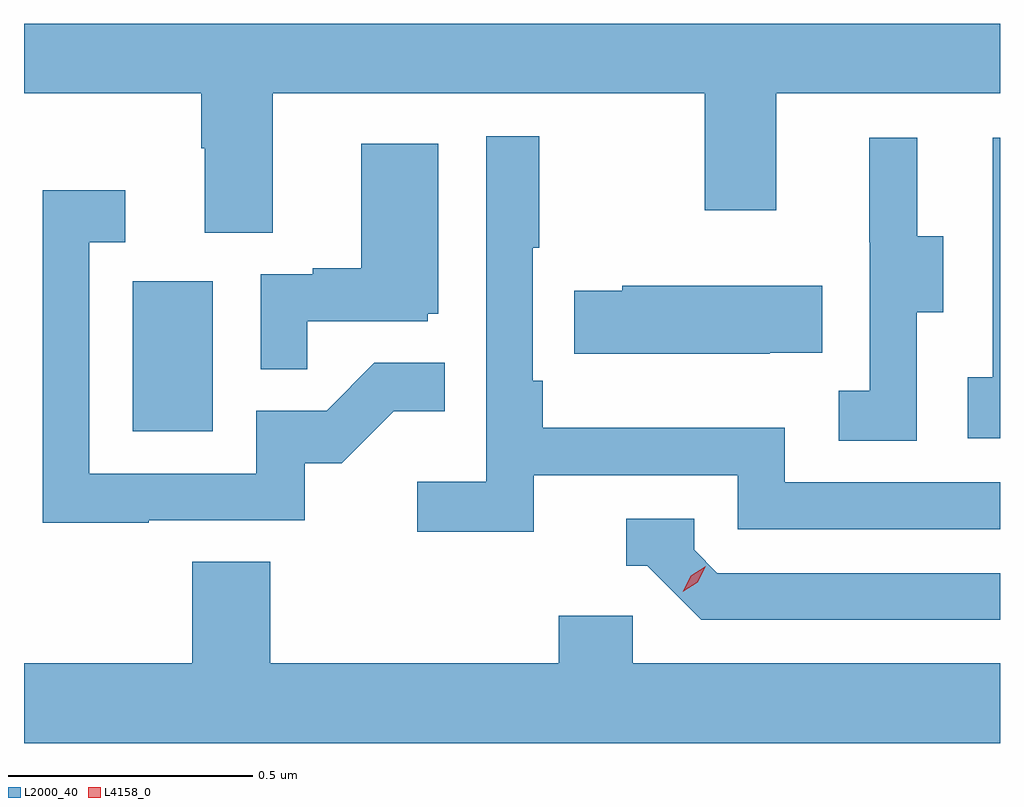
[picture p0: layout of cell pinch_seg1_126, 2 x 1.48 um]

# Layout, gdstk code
import gdstk
lib = gdstk.Library(unit=1e-6, precision=1e-09)
def R(c, l, rs):  # rectangles x0, y0, x1, y1
    for r in rs: c.add(gdstk.rectangle(r[:2], r[2:], *l))
def P(c, l, *ps):  # polygons
    for p in ps: c.add(gdstk.Polygon(p, *l))
L2000_40 = (2000, 40)
L4158_0 = (4158, 0)

pinch_seg1_126 = lib.new_cell('pinch_seg1_126')
R(pinch_seg1_126, L2000_40, [(1065.752,552.372,1065.916,552.679)])
P(pinch_seg1_126, L2000_40, [(1066.039,553.064),(1066.924,553.064),(1066.924,552.825),(1067.071,552.825),(1067.071,553.064),(1067.529,553.064),(1067.529,553.207),(1065.529,553.207),(1065.529,553.064),(1065.892,553.064),(1065.892,552.952),(1065.899,552.952),(1065.899,552.778),(1066.039,552.778)],
  [(1066.574,552.282),(1066.992,552.282),(1066.992,552.171),(1067.529,552.171),(1067.529,552.267),(1067.088,552.267),(1067.088,552.379),(1066.592,552.379),(1066.592,552.475),(1066.572,552.475),(1066.572,552.748),(1066.585,552.748),(1066.585,552.976),(1066.476,552.976),(1066.476,552.268),(1066.335,552.268),(1066.335,552.166),(1066.574,552.166)],
  [(1067.358,552.616),(1067.413,552.616),(1067.413,552.771),(1067.359,552.771),(1067.359,552.973),(1067.261,552.973),(1067.261,552.759),(1067.262,552.759),(1067.262,552.455),(1067.199,552.455),(1067.199,552.352),(1067.358,552.352)],
  [(1067.529,552.973),(1067.514,552.973),(1067.514,552.482),(1067.463,552.482),(1067.463,552.357),(1067.529,552.357)],
  [(1066.109,552.597),(1066.356,552.597),(1066.356,552.612),(1066.378,552.612),(1066.378,552.961),(1066.22,552.961),(1066.22,552.706),(1066.121,552.706),(1066.121,552.693),(1066.014,552.693),(1066.014,552.499),(1066.109,552.499)],
  [(1065.785,552.189),(1066.104,552.189),(1066.104,552.306),(1066.18,552.306),(1066.287,552.413),(1066.391,552.413),(1066.391,552.512),(1066.247,552.512),(1066.149,552.414),(1066.005,552.414),(1066.005,552.285),(1065.663,552.285),(1065.663,552.759),(1065.736,552.759),(1065.736,552.865),(1065.567,552.865),(1065.567,552.184),(1065.785,552.184)],
  [(1067.057,552.533),(1067.165,552.533),(1067.165,552.67),(1066.755,552.67),(1066.755,552.66),(1066.657,552.66),(1066.657,552.53),(1067.057,552.53)],
  [(1067.529,552.081),(1066.95,552.081),(1066.902,552.129),(1066.902,552.192),(1066.763,552.192),(1066.763,552.096),(1066.806,552.096),(1066.917,551.985),(1067.529,551.985)],
  [(1067.529,551.896),(1066.776,551.896),(1066.776,551.994),(1066.625,551.994),(1066.625,551.896),(1066.034,551.896),(1066.034,552.104),(1065.874,552.104),(1065.874,551.896),(1065.529,551.896),(1065.529,551.732),(1067.529,551.732)])
P(pinch_seg1_126, L4158_0, [(1066.879,552.043),(1066.879,552.043),(1066.895,552.076),(1066.926,552.095),(1066.926,552.095),(1066.926,552.095),(1066.91,552.062),(1066.879,552.043)])

lib.write_gds('pinch_seg1_126.gds')
